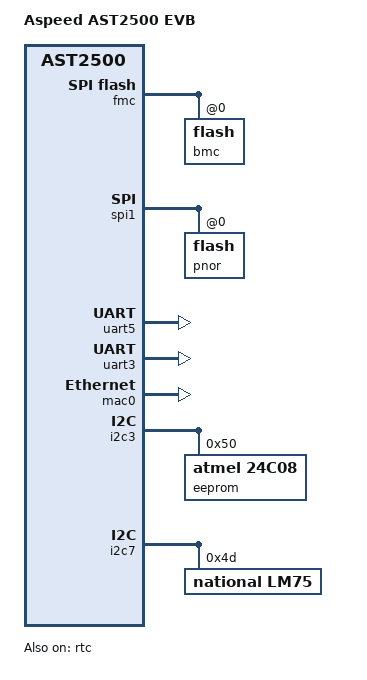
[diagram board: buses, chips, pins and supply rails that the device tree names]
// SPDX-License-Identifier: GPL-2.0+
/dts-v1/;

#include "aspeed-g5.dtsi"
#include "config.h"

/ {
	model = "Aspeed AST2500 EVB";
	compatible = "aspeed,ast2500";

	aliases {
		con = &uart5;
	};
	chosen {
		stdout-path = "con:57600n8";
#ifdef BOOTLOADER
		linux,initrd-start = <CONFIG_INITRD_START>;
		linux,initrd-end = <CONFIG_INITRD_END>;
#endif
	};

	memory@80000000 {
		reg = <0x80000000 CONFIG_RAM_SIZE>;
	};
};

&fmc {
	status = "okay";
	flash@0 {
		status = "okay";
		m25p,fast-read;
		label = "bmc";
#include "ubmc-flash-layout.dtsi"
	};
};

&spi1 {
	status = "okay";
	flash@0 {
		status = "okay";
		m25p,fast-read;
		label = "pnor";
	};
};

// /dev/ttyS4: BMC console UART
&uart5 {
	status = "okay";
};

#ifndef BOOTLOADER
// /dev/ttyS2: Host's ttyS1
&uart3 {
	status = "okay";
};

&mac0 {
	status = "okay";

	pinctrl-names = "default";
	pinctrl-0 = <&pinctrl_rgmii1_default &pinctrl_mdio1_default>;
};

&i2c3 {
	status = "okay";
	eeprom@50 {
		compatible = "atmel,24c08";
		reg = <0x50>;
		pagesize = <16>;
	};
};

&i2c7 {
	status = "okay";
	lm75@4d {
		compatible = "national,lm75";
		reg = <0x4d>;
	};
};

&rtc {
	status = "okay";
};
#endif /* !BOOTLOADER */
